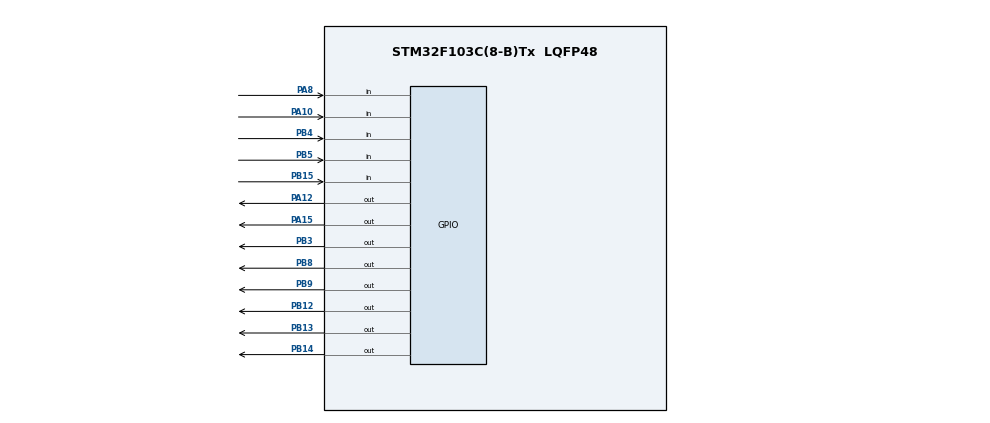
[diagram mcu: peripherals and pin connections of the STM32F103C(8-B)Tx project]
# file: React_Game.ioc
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Mcu.Family=STM32F1
Mcu.Name=STM32F103C(8-B)Tx
Mcu.Package=LQFP48
NVIC.PriorityGroup=NVIC_PRIORITYGROUP_4
PA10.GPIO_PuPd=GPIO_PULLDOWN
PA10.Signal=GPIO_Input
PA12.Signal=GPIO_Output
PA13.Mode=Serial_Wire
PA13.Signal=SYS_JTMS-SWDIO
PA14.Mode=Serial_Wire
PA14.Signal=SYS_JTCK-SWCLK
PA15.Signal=GPIO_Output
PA8.GPIO_PuPd=GPIO_PULLDOWN
PA8.Signal=GPIO_Input
PB12.Signal=GPIO_Output
PB13.Signal=GPIO_Output
PB14.Signal=GPIO_Output
PB15.GPIO_PuPd=GPIO_PULLDOWN
PB15.Signal=GPIO_Input
PB3.Signal=GPIO_Output
PB4.GPIO_PuPd=GPIO_PULLDOWN
PB4.Signal=GPIO_Input
PB5.GPIO_PuPd=GPIO_PULLDOWN
PB5.Signal=GPIO_Input
PB8.Signal=GPIO_Output
PB9.Signal=GPIO_Output
ProjectManager.HeapSize=0x200
ProjectManager.StackSize=0x400
ProjectManager.TargetToolchain=STM32CubeIDE
RCC.APB1Freq_Value=8000000
RCC.APB2Freq_Value=8000000
board=custom

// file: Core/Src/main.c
/* USER CODE BEGIN Header */
/**
  ******************************************************************************
  * @file           : main.c
  * @brief          : Main program body
  ******************************************************************************
  * @attention
  *
  * <h2><center>&copy; Copyright (c) 2022 STMicroelectronics.
  * All rights reserved.</center></h2>
  *
  * This software component is licensed by ST under BSD 3-Clause license,
  * the "License"; You may not use this file except in compliance with the
  * License. You may obtain a copy of the License at:
  *                        opensource.org/licenses/BSD-3-Clause
  *
  ******************************************************************************
  */
/* USER CODE END Header */
#include "main.h"

/* USER CODE BEGIN PV */
//Variaveis Globais

int tempo_de_resposta = 0;

int inicio_jogo = 0;
int led_esquerda_ligado = 0;
int led_direita_ligado = 0;

int ponto_player_1 = 0;
int ponto_player_2 = 0;

/* USER CODE END PV */

void SystemClock_Config(void);
static void MX_GPIO_Init(void);
/* USER CODE BEGIN PFP */

//DECLARAÇÃO DAS FUNÇÕES
void PiscaLeds();
void ResetarJogo();
void MostrarPontos();
void IniciarRodada();

/* USER CODE END PFP */

int main(void)
{

  /* MCU Configuration--------------------------------------------------------*/

  /* Reset of all peripherals, Initializes the Flash interface and the Systick. */
  HAL_Init();

  /* Configure the system clock */
  SystemClock_Config();

  /* Initialize all configured peripherals */
  MX_GPIO_Init();
  /* USER CODE BEGIN 2 */
  //SETUP

  PiscaLeds();

  /* USER CODE END 2 */

  /* Infinite loop */
  /* USER CODE BEGIN WHILE */
  while (1)
  {

	  if(HAL_GPIO_ReadPin(GPIOA, GPIO_PIN_10) == 1){ //botao de iniciar
		  PiscaLeds();
		  ResetarJogo();
		  MostrarPontos();
	      inicio_jogo = 1;
	    }

	    while(inicio_jogo == 1)
	    {
	    HAL_Delay(3000);
	    IniciarRodada();
	    MostrarPontos();

				if(ponto_player_1 == 3){
						  HAL_GPIO_WritePin(GPIOB,GPIO_PIN_14, 1);
						inicio_jogo = 0;

					  }

				 if(ponto_player_2 == 3){
				  HAL_GPIO_WritePin(GPIOB,GPIO_PIN_3, 1);

				   inicio_jogo = 0;

				 }

	    }

	       //LEDS do jogo
	      //LED Esquerda HAL_GPIO_WritePin(GPIOB,GPIO_PIN_8, 1);
	     //LED Direita HAL_GPIO_WritePin(GPIOB,GPIO_PIN_9, 1);

	  	  	  //LEDS AMARELOS
	  	  	  // HAL_GPIO_WritePin(GPIOB,GPIO_PIN_12, 1); LED 1
		  	  // HAL_GPIO_WritePin(GPIOB,GPIO_PIN_13, 1); LED 2
		  	  // HAL_GPIO_WritePin(GPIOB,GPIO_PIN_14, 1); LED 3

			  //LEDS VERDES
			  // HAL_GPIO_WritePin(GPIOA,GPIO_PIN_12, 1); LED 1
			  // HAL_GPIO_WritePin(GPIOA,GPIO_PIN_15, 1); LED 2
			  // HAL_GPIO_WritePin(GPIOB,GPIO_PIN_3, 1); LED 3

	  //BOTAO do LED 01 Player 1 HAL_GPIO_ReadPin(GPIOB, GPIO_PIN_15) == 1
	  //BOTAO do LED 02 Player 1 HAL_GPIO_ReadPin(GPIOA, GPIO_PIN_8) == 1

	  //BOTAO do LED 01 Player 2 HAL_GPIO_ReadPin(GPIOB, GPIO_PIN_4) == 1
	  //BOTAO do LED 02 Player 2 HAL_GPIO_ReadPin(GPIOB, GPIO_PIN_5) == 1

	  //BOTAO DE INICIO  HAL_GPIO_ReadPin(GPIOA, GPIO_PIN_10) == 1

    /* USER CODE END WHILE */

  }
}

void SystemClock_Config(void)
{
  RCC_OscInitTypeDef RCC_OscInitStruct = {0};
  RCC_ClkInitTypeDef RCC_ClkInitStruct = {0};

  /** Initializes the RCC Oscillators according to the specified parameters
  * in the RCC_OscInitTypeDef structure.
  */
  RCC_OscInitStruct.OscillatorType = RCC_OSCILLATORTYPE_HSI;
  RCC_OscInitStruct.HSIState = RCC_HSI_ON;
  RCC_OscInitStruct.HSICalibrationValue = RCC_HSICALIBRATION_DEFAULT;
  RCC_OscInitStruct.PLL.PLLState = RCC_PLL_NONE;
  if (HAL_RCC_OscConfig(&RCC_OscInitStruct) != HAL_OK)
  {
    Error_Handler();
  }
  /** Initializes the CPU, AHB and APB buses clocks
  */
  RCC_ClkInitStruct.ClockType = RCC_CLOCKTYPE_HCLK|RCC_CLOCKTYPE_SYSCLK
                              |RCC_CLOCKTYPE_PCLK1|RCC_CLOCKTYPE_PCLK2;
  RCC_ClkInitStruct.SYSCLKSource = RCC_SYSCLKSOURCE_HSI;
  RCC_ClkInitStruct.AHBCLKDivider = RCC_SYSCLK_DIV1;
  RCC_ClkInitStruct.APB1CLKDivider = RCC_HCLK_DIV1;
  RCC_ClkInitStruct.APB2CLKDivider = RCC_HCLK_DIV1;

  if (HAL_RCC_ClockConfig(&RCC_ClkInitStruct, FLASH_LATENCY_0) != HAL_OK)
  {
    Error_Handler();
  }
}

static void MX_GPIO_Init(void)
{
  GPIO_InitTypeDef GPIO_InitStruct = {0};

  /* GPIO Ports Clock Enable */
  __HAL_RCC_GPIOB_CLK_ENABLE();
  __HAL_RCC_GPIOA_CLK_ENABLE();

  /*Configure GPIO pin Output Level */
  HAL_GPIO_WritePin(GPIOB, GPIO_PIN_12|GPIO_PIN_13|GPIO_PIN_14|GPIO_PIN_3
                          |GPIO_PIN_8|GPIO_PIN_9, GPIO_PIN_RESET);

  /*Configure GPIO pin Output Level */
  HAL_GPIO_WritePin(GPIOA, GPIO_PIN_12|GPIO_PIN_15, GPIO_PIN_RESET);

  /*Configure GPIO pins : PB12 PB13 PB14 PB3
                           PB8 PB9 */
  GPIO_InitStruct.Pin = GPIO_PIN_12|GPIO_PIN_13|GPIO_PIN_14|GPIO_PIN_3
                          |GPIO_PIN_8|GPIO_PIN_9;
  GPIO_InitStruct.Mode = GPIO_MODE_OUTPUT_PP;
  GPIO_InitStruct.Pull = GPIO_NOPULL;
  GPIO_InitStruct.Speed = GPIO_SPEED_FREQ_LOW;
  HAL_GPIO_Init(GPIOB, &GPIO_InitStruct);

  /*Configure GPIO pins : PB15 PB4 PB5 */
  GPIO_InitStruct.Pin = GPIO_PIN_15|GPIO_PIN_4|GPIO_PIN_5;
  GPIO_InitStruct.Mode = GPIO_MODE_INPUT;
  GPIO_InitStruct.Pull = GPIO_PULLDOWN;
  HAL_GPIO_Init(GPIOB, &GPIO_InitStruct);

  /*Configure GPIO pins : PA8 PA10 */
  GPIO_InitStruct.Pin = GPIO_PIN_8|GPIO_PIN_10;
  GPIO_InitStruct.Mode = GPIO_MODE_INPUT;
  GPIO_InitStruct.Pull = GPIO_PULLDOWN;
  HAL_GPIO_Init(GPIOA, &GPIO_InitStruct);

  /*Configure GPIO pins : PA12 PA15 */
  GPIO_InitStruct.Pin = GPIO_PIN_12|GPIO_PIN_15;
  GPIO_InitStruct.Mode = GPIO_MODE_OUTPUT_PP;
  GPIO_InitStruct.Pull = GPIO_NOPULL;
  GPIO_InitStruct.Speed = GPIO_SPEED_FREQ_LOW;
  HAL_GPIO_Init(GPIOA, &GPIO_InitStruct);

}

/* USER CODE BEGIN 4 */
//FUNÇÕES LOCAIS
void PiscaLeds(){

	   HAL_GPIO_WritePin(GPIOB,GPIO_PIN_12, 1);
	   HAL_Delay(100);
	   HAL_GPIO_WritePin(GPIOB,GPIO_PIN_12, 0);
	   HAL_GPIO_WritePin(GPIOB,GPIO_PIN_13, 1);
	   HAL_Delay(100);
	   HAL_GPIO_WritePin(GPIOB,GPIO_PIN_13, 0);
	   HAL_GPIO_WritePin(GPIOB,GPIO_PIN_14, 1);
	   HAL_Delay(100);
	   HAL_GPIO_WritePin(GPIOB,GPIO_PIN_14, 0);
	   HAL_GPIO_WritePin(GPIOA,GPIO_PIN_12, 1);
	   HAL_Delay(100);
	   HAL_GPIO_WritePin(GPIOA,GPIO_PIN_12, 0);
	   HAL_GPIO_WritePin(GPIOA,GPIO_PIN_15, 1);
	   HAL_Delay(100);
	   HAL_GPIO_WritePin(GPIOA,GPIO_PIN_15, 0);
	   HAL_GPIO_WritePin(GPIOB,GPIO_PIN_3, 1);
	   HAL_Delay(100);
	   HAL_GPIO_WritePin(GPIOB,GPIO_PIN_3, 0);
	   HAL_GPIO_WritePin(GPIOB,GPIO_PIN_8, 1);
	   HAL_Delay(100);
	   HAL_GPIO_WritePin(GPIOB,GPIO_PIN_8, 0);
	   HAL_GPIO_WritePin(GPIOB,GPIO_PIN_9, 1);
	   HAL_Delay(100);
	   HAL_GPIO_WritePin(GPIOB,GPIO_PIN_9, 0);
}

void ResetarJogo(){

 inicio_jogo = 0;
 led_esquerda_ligado = 0;
 led_direita_ligado = 0;
 ponto_player_1 = 0;
 ponto_player_2 = 0;
}

void IniciarRodada(){

  int led_sorteado = rand()%2;

if(led_sorteado == 0 ){
  HAL_GPIO_WritePin(GPIOB,GPIO_PIN_8, 1);
  led_esquerda_ligado = 1;

}

else{
   HAL_GPIO_WritePin(GPIOB,GPIO_PIN_9, 1);
   led_direita_ligado = 1;
}

  while(led_esquerda_ligado == 1 || led_direita_ligado == 1){

    	//Analise Jogada correta do  Player 1
    if((HAL_GPIO_ReadPin(GPIOB, GPIO_PIN_15) == 1 && led_esquerda_ligado == 1) || (HAL_GPIO_ReadPin(GPIOA, GPIO_PIN_8) == 1 && led_direita_ligado == 1)){

          ponto_player_1 = ponto_player_1 + 1;

          led_esquerda_ligado = 0;
          led_direita_ligado = 0;
     	 tempo_de_resposta = 0;

      }

    	//Analise Jogada errada do  Player 1
  else  if((HAL_GPIO_ReadPin(GPIOB, GPIO_PIN_15) == 1 && led_esquerda_ligado != 1) || (HAL_GPIO_ReadPin(GPIOA, GPIO_PIN_8) == 1 && led_direita_ligado != 1)){
          ponto_player_2 =  ponto_player_2 + 1;

          led_esquerda_ligado = 0;
          led_direita_ligado = 0;
     	 tempo_de_resposta = 0;

      }

   // Analise Jogada correta do Player 2
  else  if((HAL_GPIO_ReadPin(GPIOB, GPIO_PIN_4) == 1 && led_esquerda_ligado == 1) || (HAL_GPIO_ReadPin(GPIOB, GPIO_PIN_5) == 1 && led_direita_ligado == 1)){

        	ponto_player_2 =  ponto_player_2 + 1;

           led_esquerda_ligado = 0;
           led_direita_ligado = 0;
           tempo_de_resposta = 0;

      }

    	//Analise Jogada errada do  Player 2
   else if((HAL_GPIO_ReadPin(GPIOB, GPIO_PIN_4) == 1 && led_esquerda_ligado != 1) || (HAL_GPIO_ReadPin(GPIOB, GPIO_PIN_5) == 1 && led_direita_ligado != 1)){
    	ponto_player_1 = ponto_player_1 + 1;

          led_esquerda_ligado = 0;
          led_direita_ligado = 0;
     	  tempo_de_resposta = 0;

      }

	   else{
		   tempo_de_resposta++;
		   HAL_Delay(100); // É possível diminuir o tempo para 1/10 de tempo para não haver tanta diferença de tempo para verificar as outras condições de jogo
	   }

  }

}

void MostrarPontos(){

	if(led_direita_ligado == 0 && led_esquerda_ligado == 0){
		 HAL_GPIO_WritePin(GPIOB,GPIO_PIN_8, 0);
		 HAL_GPIO_WritePin(GPIOB,GPIO_PIN_9, 0);

	}

  if(ponto_player_1 == 0){
	//LEDS VERDES
	  HAL_GPIO_WritePin(GPIOB,GPIO_PIN_12, 0);
      HAL_GPIO_WritePin(GPIOB,GPIO_PIN_13, 0);
      HAL_GPIO_WritePin(GPIOB,GPIO_PIN_14, 0);

  }

 if(ponto_player_1 == 1){
	 HAL_GPIO_WritePin(GPIOB,GPIO_PIN_12, 1);

  }

  else if(ponto_player_1 == 2){
	  HAL_GPIO_WritePin(GPIOB,GPIO_PIN_13, 1);
  }

    if(ponto_player_2 == 0){
    	//LEDS AMARELOS
	   HAL_GPIO_WritePin(GPIOA,GPIO_PIN_12, 0);
	   HAL_GPIO_WritePin(GPIOA,GPIO_PIN_15, 0);
	   HAL_GPIO_WritePin(GPIOB,GPIO_PIN_3, 0);

  }

  else if(ponto_player_2 == 1){
	  HAL_GPIO_WritePin(GPIOA,GPIO_PIN_12, 1);
  }

  else if(ponto_player_2 == 2){
	  HAL_GPIO_WritePin(GPIOA,GPIO_PIN_15, 1);

  }

}

/* USER CODE END 4 */

void Error_Handler(void)
{
  __disable_irq();
  while (1)
  {
  }
}

/************************ (C) COPYRIGHT STMicroelectronics *****END OF FILE****/
